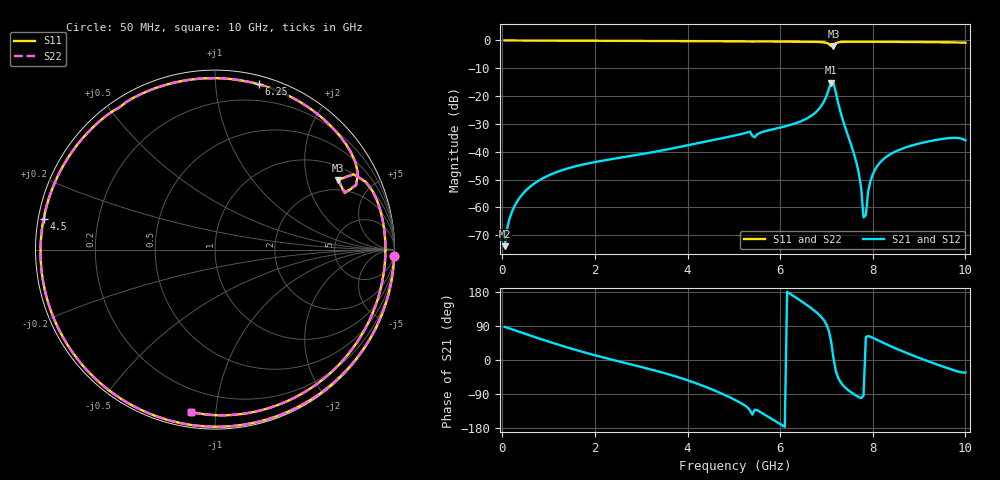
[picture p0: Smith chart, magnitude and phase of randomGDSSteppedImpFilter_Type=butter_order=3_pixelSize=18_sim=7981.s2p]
! freq	dB(S11)	phase(S11)	dB(S12)	phase(S12)
!  dB(S21)	phase(S21)	dB(S22)	phase(S22)
!S-par simulation data
#  GHz  S  DB  R 50
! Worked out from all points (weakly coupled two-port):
!   200 points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, 50 MHz to 10 GHz, reference 50 ohm
!   highest |S21| = -15.20 dB at 7.1 GHz (marker M1); lowest = -73.9 dB at 50 MHz (marker M2)
!   lowest |S11| = -2.1 dB at 7.15 GHz (marker M3), VSWR 8.42, Z = 75.9 + j155 ohm
!   |S11| at or under -10 dB: nowhere
!   |S22| runs from -2.1 to 0.0 dB; largest |S21 - S12| = 0
!   S11 on the Smith chart (normalised r, x): 50 MHz: 1, -53; 4.5 GHz: 0.02, +0.09; 6.25 GHz: 0.07, +1.30; 10 GHz: 0.08, -0.86
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0.05  -0.01 -2.2  -73.94 87.7  -73.94 87.7  -0.00 -2.2
0.2  -0.01 -8.5  -61.94 81.4  -61.94 81.4  -0.01 -8.5
0.5  -0.02 -21.2  -54.11 68.8  -54.11 68.8  -0.02 -21.2
1.75  -0.09 -73.0  -44.57 20.9  -44.57 20.9  -0.09 -73.0
2.55  -0.13 -105.7  -42.14 -4.8  -42.14 -4.8  -0.13 -105.7
3.4  -0.18 -140.9  -39.69 -31.2  -39.69 -31.2  -0.18 -140.9
4.5  -0.26 169.8  -35.98 -76.3  -35.98 -76.3  -0.26 169.8
5.05  -0.31 142.3  -34.06 -106.9  -34.06 -106.9  -0.31 142.4
5.7  -0.37 107.1  -32.51 -146.6  -32.51 -146.6  -0.37 107.2
6.25  -0.42 75.1  -30.21 171.9  -30.21 171.9  -0.42 75.2
6.7  -0.49 48.1  -26.77 134.0  -26.77 134.0  -0.49 48.2
7.1  -2.06 23.6  -15.20 49.1  -15.20 49.1  -2.05 23.7
7.15  -2.07 29.6  -15.24 5.7  -15.24 5.7  -2.06 29.6
7.7  -0.45 -3.7  -47.86 -98.0  -47.86 -98.0  -0.45 -3.6
7.75  -0.45 -6.3  -53.08 -100.4  -53.08 -100.4  -0.45 -6.3
7.8  -0.46 -8.9  -63.62 -93.9  -63.62 -93.9  -0.46 -8.8
7.85  -0.46 -11.5  -62.80 60.0  -62.80 60.0  -0.46 -11.4
7.9  -0.46 -14.0  -54.34 63.4  -54.34 63.4  -0.46 -13.9
8  -0.47 -18.9  -48.12 58.5  -48.12 58.5  -0.47 -18.9
8.35  -0.50 -35.3  -41.19 38.5  -41.19 38.5  -0.50 -35.3
9.15  -0.60 -68.2  -36.47 -1.3  -36.47 -1.3  -0.60 -68.2
10  -0.78 -98.4  -35.90 -33.0  -35.90 -33.0  -0.78 -98.4
